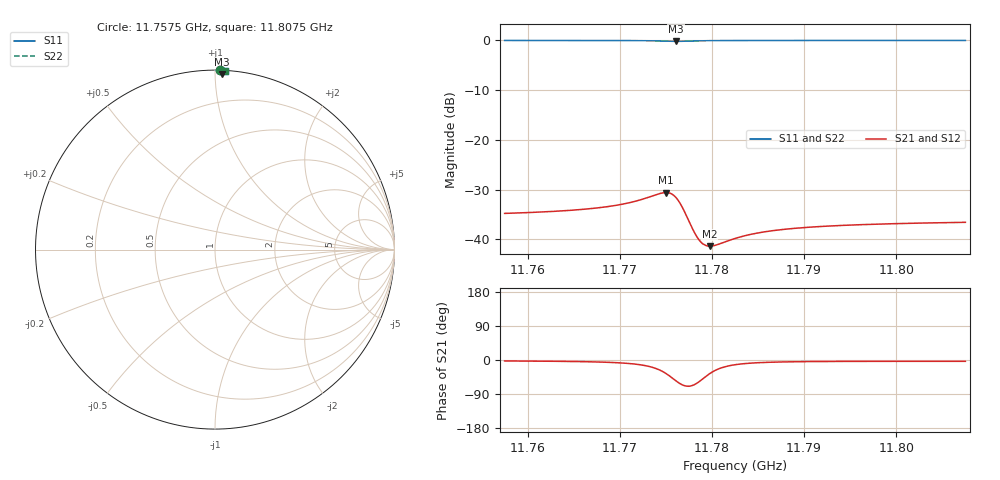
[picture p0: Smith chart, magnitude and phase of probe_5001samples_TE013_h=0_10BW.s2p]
! TOUCHSTONE file generated by CST MICROWAVE STUDIO
! Date and time: Tue Feb 23 14:44:44 2021
! Project name: h=5.58.cst
! Parameters = {cp=1; hl=0; bD=17; h=5.58; icl=0.1; inD=0.51; oD=2.2; rD=4; tD=1.68; vD=11}
! Header version: 2018
! Port assignment regex: !\s*Touchstone port\s*([0-9]+)\s*=\s*(CST MWS port|CST DS port)\s*([0-9]+|Zmin|Zmax)\s*\(\"(.*)\"\)(\s*mode\s*([0-9]+))?.*
! Touchstone port assignment:
! Touchstone port 1 = CST MWS port 1 ("")
! Touchstone port 2 = CST MWS port 2 ("")
# GHz S MA R 50
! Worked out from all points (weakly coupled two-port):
!   5001 points, 11.7575 GHz to 11.8075 GHz, reference 50 ohm
!   highest |S21| = -30.59 dB at 11.775 GHz (marker M1); lowest = -41.4 dB at 11.7798 GHz (marker M2)
!   lowest |S11| = -0.2 dB at 11.7761 GHz (marker M3), VSWR 90.66, Z = 1.15 + j51.9 ohm
!   |S11| at or under -10 dB: nowhere
!   |S22| runs from -0.2 to 0.0 dB; largest |S21 - S12| = 0.00011
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11.7575  0.999 88.3  0.01825 -2.5  0.01825 -2.5  0.9989 88.3
11.76584  0.9984 87.9  0.01999 -4.3  0.02004 -4.3  0.9984 87.9
11.76841  0.9978 87.8  0.02118 -5.8  0.02125 -5.7  0.9978 87.7
11.77051  0.9967 87.6  0.0228 -8.3  0.02282 -8.2  0.9967 87.6
11.77215  0.9948 87.5  0.02484 -12.3  0.02484 -12.3  0.9948 87.4
11.77417  0.9882 87.3  0.02859 -24.8  0.02859 -24.8  0.9882 87.3
11.77502  0.9829 87.4  0.02956 -35.8  0.02953 -35.8  0.9829 87.3
11.77559  0.9795 87.6  0.02874 -45.6  0.02872 -45.6  0.9794 87.5
11.7761  0.9782 87.8  0.02632 -55.2  0.02632 -55.2  0.9782 87.8
11.77673  0.9801 88.2  0.02147 -65.0  0.02147 -65.0  0.9801 88.1
11.77794  0.988 88.4  0.01252 -66.7  0.01252 -66.7  0.988 88.4
11.77849  0.9907 88.4  0.0102 -59.2  0.0102 -59.2  0.9907 88.3
11.77879  0.9919 88.3  0.009412 -53.8  0.009416 -53.8  0.9919 88.3
11.77909  0.9929 88.3  0.00892 -47.9  0.008932 -48.2  0.9929 88.3
11.77976  0.9945 88.2  0.008547 -35.8  0.008551 -35.8  0.9945 88.2
11.78046  0.9957 88.1  0.008778 -26.2  0.008773 -26.2  0.9957 88.1
11.7825  0.9974 88.0  0.01021 -12.5  0.01022 -12.5  0.9974 87.9
11.78412  0.9981 87.9  0.01119 -8.4  0.01119 -8.4  0.9981 87.8
11.78595  0.9984 87.7  0.012 -6.2  0.01202 -6.2  0.9984 87.7
11.79084  0.9989 87.5  0.01331 -4.1  0.01331 -4.1  0.9989 87.5
11.79917  0.9991 87.2  0.01434 -3.5  0.01434 -3.5  0.9991 87.1
11.8075  0.9991 86.9  0.01485 -3.5  0.01484 -3.5  0.9991 86.8
